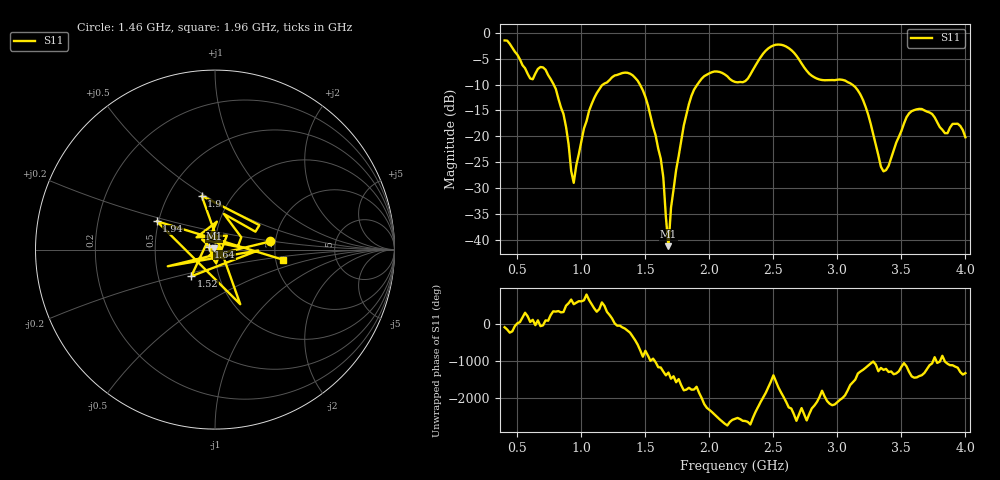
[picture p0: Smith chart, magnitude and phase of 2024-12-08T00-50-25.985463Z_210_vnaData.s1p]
!Created with skrf (http://scikit-rf.org).
# Hz S RI R 50.0
!freq ReS11 ImS11
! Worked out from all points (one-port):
!   181 points, 400 MHz to 4 GHz, reference 50 ohm
!   lowest |S11| = -41.2 dB at 1.68 GHz (marker M1), VSWR 1.02, Z = 49.5 + j0.674 ohm
!   |S11| at or under -10 dB: 783.5 MHz to 1.168 GHz (384.5 MHz wide, 39.4 % of centre); 1.457 GHz to 1.906 GHz (448.3 MHz wide, 26.7 % of centre); 3.116 GHz to end of sweep
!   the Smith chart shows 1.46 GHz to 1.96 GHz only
!   S11 on the Smith chart (normalised r, x): 1.46 GHz: 1.88, +0.19; 1.52 GHz: 0.74, -0.23; 1.64 GHz: 0.93, +0.03; 1.9 GHz: 0.73, +0.48; 1.94 GHz: 0.49, +0.18; 1.96 GHz: 2.19, -0.29
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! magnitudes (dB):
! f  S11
! 400 MHz  -1.5
! 600 MHz  -8.8
! 720 MHz  -7.1
! 860 MHz  -15.7
! 940 MHz  -29.0
! 1.08 GHz  -13.8
! 1.3 GHz  -7.9
! 1.46 GHz  -10.1
! 1.52 GHz  -14.0
! 1.64 GHz  -27.9
! 1.68 GHz  -41.2
! 1.7 GHz  -33.8
! 1.76 GHz  -23.8
! 1.84 GHz  -13.8
! 1.9 GHz  -10.2
! 1.94 GHz  -8.8
! 1.96 GHz  -8.4
! 2.2 GHz  -9.5
! 2.48 GHz  -2.7
! 2.66 GHz  -3.8
! 2.82 GHz  -8.6
! 3.1 GHz  -9.7
! 3.22 GHz  -14.3
! 3.36 GHz  -26.8
! 3.56 GHz  -15.6
! 3.84 GHz  -19.4
! 3.94 GHz  -17.6
! 4 GHz  -20.2
